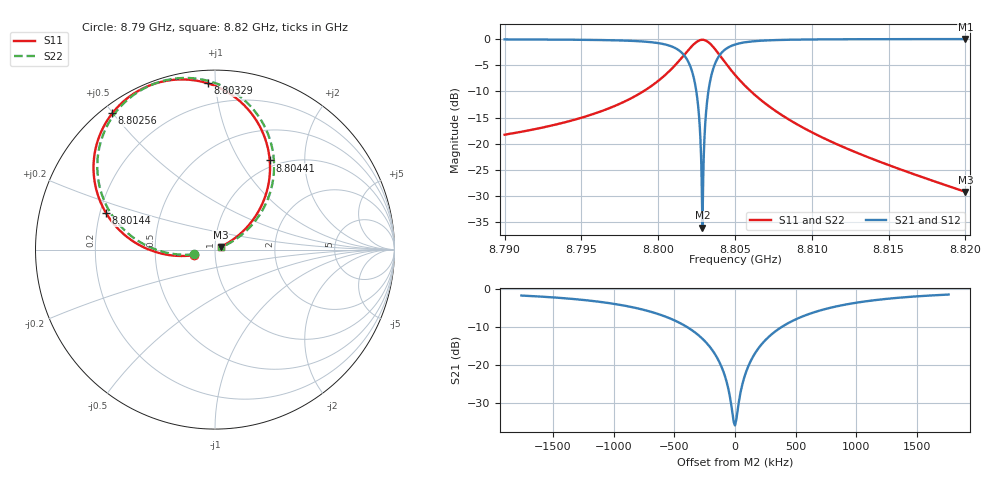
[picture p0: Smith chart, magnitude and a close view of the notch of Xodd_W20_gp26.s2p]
! Sonnet Data File
! From: emgraph Version : 16.52
! From Project: Qubit_Xmon2
! Data is De-embedded
! Data File Written: 10/18/2017 11:36:09
!< HDATE 10/18/2017 10:24:37
!< MDATE 10/18/2017 10:24:37
!< PARAMS
!< Lj = 11.0
!< Gap = 26.0
!< Pwid = 2000.0
!< Airgap = 12.0
!< Width = 20.0
!< END PARAMS
# GHZ S MA R 40.13000
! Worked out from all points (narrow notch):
!   3001 points, 8.79 GHz to 8.82 GHz, reference 40.13 ohm
!   highest |S21| = -0.01 dB at 8.82 GHz (marker M1); lowest = -36.0 dB at 8.80288 GHz (marker M2)
!   notch at M2: 35.9 dB deep, 294 kHz wide at half that depth
!   lowest |S11| = -29.2 dB at 8.82 GHz (marker M3), VSWR 1.07, Z = 42.7 + j1.27 ohm
!   |S11| at or under -10 dB: start of sweep to 8.799029 GHz; 8.806036 GHz to end of sweep
!   |S22| runs from -29.2 to -0.1 dB; largest |S21 - S12| = 0
!   S11 on the Smith chart (normalised r, x): 8.79 GHz: 0.79, -0.05; 8.80144 GHz: 0.23, +0.15; 8.80256 GHz: 0.03, +0.50; 8.80329 GHz: 0.07, +0.95; 8.80441 GHz: 0.91, +1.36; 8.82 GHz: 1.06, +0.03
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8.79  0.1219 -165.4  0.9924 -76.2  0.9924 -76.2  0.1219 -167.2
!< P1 F=8.79 Eeff=(4.99688633 -5.9225e-5) Z0=(38.486563 -1.2923e-4) R=0.0 C=0.0
!< P2 F=8.79 Eeff=(4.99688633 -5.9225e-5) Z0=(38.486563 -1.2923e-4) R=0.0 C=0.0
8.795  0.177 -168.5  0.9839 -79.5  0.9839 -79.5  0.177 -170.6
8.79801  0.2612 -173.5  0.9644 -84.4  0.9644 -84.4  0.2612 -175.8
8.8  0.3983 178.1  0.9149 -92.8  0.9149 -92.8  0.3983 175.7
8.80083  0.5116 170.7  0.8549 -100.1  0.8549 -100.1  0.5115 168.2
8.80144  0.6385 161.6  0.7618 -109.0  0.7618 -109.0  0.6385 159.0
8.80215  0.842 143.2  0.519 -126.6  0.519 -126.6  0.842 140.6
8.80238  0.9086 134.7  0.3858 -134.5  0.3858 -134.5  0.9085 132.0
8.80256  0.9509 127.0  0.2596 -141.0  0.2596 -141.0  0.9509 124.4
8.80267  0.9695 122.0  0.1742 -144.3  0.1742 -144.3  0.9695 119.3
8.80278  0.9809 116.8  0.08472 -143.9  0.08472 -143.9  0.9809 114.1
8.80288  0.9843 112.0  0.01577 -65.1  0.01577 -65.1  0.9842 109.3
8.80297  0.9812 107.6  0.07918 4.7  0.07918 4.7  0.9812 104.9
8.80312  0.9637 100.4  0.2028 4.6  0.2028 4.6  0.9637 97.7
8.80329  0.9277 92.6  0.3336 -1.4  0.3336 -1.4  0.9276 89.8
8.80372  0.7937 75.8  0.5907 -16.8  0.5907 -16.8  0.7937 73.1
8.80441  0.5827 58.4  0.8053 -33.7  0.8053 -33.7  0.5827 55.6
8.805  0.4549 49.7  0.8863 -42.3  0.8863 -42.3  0.4548 46.8
8.80676  0.2563 37.3  0.9652 -54.5  0.9652 -54.5  0.2563 34.3
8.81  0.1286 29.9  0.9913 -62.0  0.9913 -62.0  0.1286 26.5
8.815  0.06249 26.4  0.9979 -65.8  0.9979 -65.8  0.06249 22.1
8.82  0.03467 25.4  0.9993 -67.5  0.9993 -67.5  0.03467 19.8
